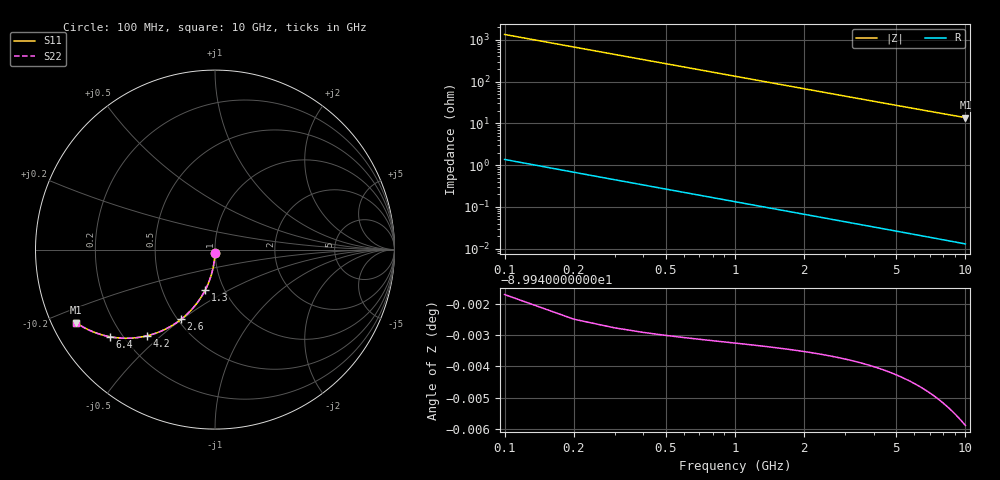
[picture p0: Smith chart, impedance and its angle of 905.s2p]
# Hz S RI R 50.00
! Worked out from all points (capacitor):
!   100 points, 100 MHz to 10 GHz, reference 50 ohm
!   read as one part in shunt: C = 1.18 pF near 100 MHz
!   lowest |Z| = 13.7 ohm at 10 GHz (marker M1)
!   S11 on the Smith chart (normalised r, x): 100 MHz: 1.00, -0.04; 1.3 GHz: 0.81, -0.39; 2.6 GHz: 0.52, -0.50; 4.2 GHz: 0.29, -0.45; 6.4 GHz: 0.15, -0.35; 10 GHz: 0.07, -0.25
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1e8  -0.00034 -0.0185  0.9996 -0.0187  0.9996 -0.0187  -0.00034 -0.0185
2e8  -0.00139 -0.0369  0.9986 -0.0373  0.9986 -0.0373  -0.00139 -0.0369
3e8  -0.00313 -0.0553  0.9968 -0.0559  0.9968 -0.0559  -0.00313 -0.0553
4e8  -0.00555 -0.0735  0.9944 -0.0744  0.9944 -0.0744  -0.00555 -0.0735
5e8  -0.00863 -0.0916  0.9913 -0.0927  0.9913 -0.0927  -0.00863 -0.0916
6e8  -0.0124 -0.1095  0.9876 -0.1108  0.9876 -0.1108  -0.0124 -0.1095
7e8  -0.0168 -0.1272  0.9832 -0.1286  0.9832 -0.1286  -0.0168 -0.1272
8e8  -0.0218 -0.1446  0.9782 -0.1463  0.9782 -0.1463  -0.0218 -0.1446
1e9  -0.0335 -0.1786  0.9664 -0.1806  0.9664 -0.1806  -0.0335 -0.1786
1.3e9  -0.0553 -0.2269  0.9446 -0.2295  0.9446 -0.2295  -0.0553 -0.2269
1.5e9  -0.0723 -0.257  0.9277 -0.26  0.9277 -0.26  -0.0723 -0.257
1.8e9  -0.1008 -0.2988  0.8991 -0.3024  0.8991 -0.3024  -0.1008 -0.2988
2.2e9  -0.1433 -0.3477  0.8566 -0.3522  0.8566 -0.3522  -0.1433 -0.3477
2.6e9  -0.1893 -0.3886  0.8106 -0.3939  0.8106 -0.3939  -0.1893 -0.3886
3.4e9  -0.285 -0.4475  0.7149 -0.4544  0.7149 -0.4544  -0.285 -0.4475
4.2e9  -0.378 -0.4801  0.6219 -0.4887  0.6219 -0.4887  -0.378 -0.4801
5.1e9  -0.4723 -0.4935  0.5276 -0.504  0.5276 -0.504  -0.4723 -0.4935
6.4e9  -0.5847 -0.4856  0.4152 -0.4989  0.4152 -0.4989  -0.5847 -0.4856
6.7e9  -0.6067 -0.481  0.3932 -0.4949  0.3932 -0.4949  -0.6067 -0.481
7.5e9  -0.6589 -0.4657  0.3409 -0.4813  0.3409 -0.4813  -0.6589 -0.4657
8.4e9  -0.7079 -0.4454  0.2919 -0.463  0.2919 -0.463  -0.7079 -0.4454
1e10  -0.7745 -0.4068  0.2252 -0.4278  0.2252 -0.4278  -0.7745 -0.4068
